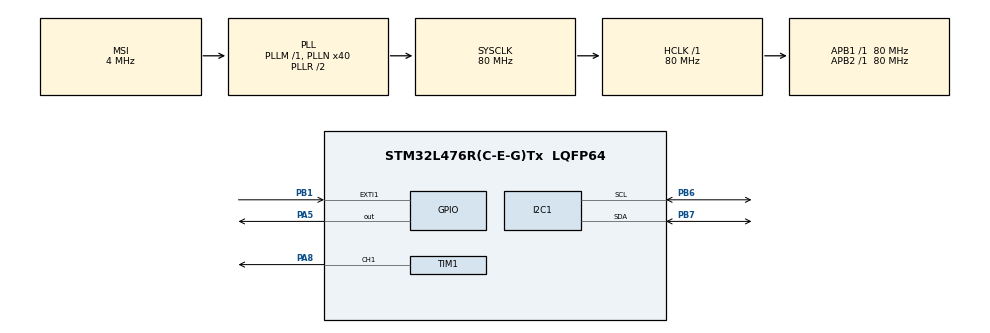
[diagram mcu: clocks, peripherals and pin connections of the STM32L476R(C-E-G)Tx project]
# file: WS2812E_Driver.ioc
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Dma.Request0=TIM1_CH1
Dma.TIM1_CH1.0.Direction=DMA_MEMORY_TO_PERIPH
Dma.TIM1_CH1.0.Instance=DMA1_Channel2
Dma.TIM1_CH1.0.MemDataAlignment=DMA_MDATAALIGN_HALFWORD
Dma.TIM1_CH1.0.MemInc=DMA_MINC_ENABLE
Dma.TIM1_CH1.0.Mode=DMA_NORMAL
Dma.TIM1_CH1.0.PeriphDataAlignment=DMA_PDATAALIGN_HALFWORD
Dma.TIM1_CH1.0.PeriphInc=DMA_PINC_DISABLE
Dma.TIM1_CH1.0.Priority=DMA_PRIORITY_HIGH
I2C1.Timing=0x10D19CE4
Mcu.Family=STM32L4
Mcu.Name=STM32L476R(C-E-G)Tx
Mcu.Package=LQFP64
NVIC.DMA1_Channel2_IRQn=true\:0\:0\:false\:false\:true\:false\:true\:true
NVIC.EXTI1_IRQn=true\:2\:0\:true\:false\:true\:true\:true\:true
NVIC.PriorityGroup=NVIC_PRIORITYGROUP_4
PA5.Signal=GPIO_Output
PA8.Signal=S_TIM1_CH1
PB1.Signal=GPXTI1
PB6.Mode=I2C
PB6.Signal=I2C1_SCL
PB7.Mode=I2C
PB7.Signal=I2C1_SDA
ProjectManager.HeapSize=0x200
ProjectManager.StackSize=0x400
ProjectManager.TargetToolchain=STM32CubeIDE
RCC.AHBFreq_Value=80000000
RCC.APB1Freq_Value=80000000
RCC.APB1TimFreq_Value=80000000
RCC.APB2Freq_Value=80000000
RCC.APB2TimFreq_Value=80000000
RCC.CortexFreq_Value=80000000
RCC.HCLKFreq_Value=80000000
RCC.HSE_VALUE=8000000
RCC.HSI_VALUE=16000000
RCC.LSE_VALUE=32768
RCC.MSI_VALUE=4000000
RCC.PLLN=40
RCC.SYSCLKFreq_VALUE=80000000
RCC.SYSCLKSource=RCC_SYSCLKSOURCE_PLLCLK
RCC.VCOOutputFreq_Value=160000000
SH.S_TIM1_CH1.0=TIM1_CH1,PWM Generation1 CH1
TIM1.Channel-PWM\ Generation1\ CH1=TIM_CHANNEL_1
TIM1.Period=99
board=custom

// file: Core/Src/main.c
/* USER CODE BEGIN Header */
/**
  ******************************************************************************
  * @file           : main.c
  * @brief          : Main program body
  ******************************************************************************
  * @attention
  *
  * Copyright (c) 2026 STMicroelectronics.
  * All rights reserved.
  *
  * This software is licensed under terms that can be found in the LICENSE file
  * in the root directory of this software component.
  * If no LICENSE file comes with this software, it is provided AS-IS.
  *
  ******************************************************************************
  */
/* USER CODE END Header */
#include "main.h"
#include "dma.h"
#include "i2c.h"
#include "tim.h"
#include "gpio.h"
#include <stdio.h>

/* USER CODE BEGIN Includes */
#include "matrix.h"
#include "make_detect.h"
#include "impact_detect.h"
#include "shot_classification.h"
/* USER CODE END Includes */

void SystemClock_Config(void);
/* USER CODE BEGIN PFP */
void HAL_GPIO_EXTI_Callback(uint16_t GPIO_Pin)
{
    if (GPIO_Pin == GPIO_PIN_1)
    {
    	Impact_Detect_EXTI_Callback(GPIO_Pin);
    }
}
/* USER CODE END PFP */

int main(void)
{

  /* MCU Configuration--------------------------------------------------------*/

  /* Reset of all peripherals, Initializes the Flash interface and the Systick. */
  HAL_Init();

  /* Configure the system clock */
  SystemClock_Config();

  /* Initialize all configured peripherals */
  MX_GPIO_Init();
  MX_DMA_Init();
  MX_TIM1_Init();
  MX_I2C1_Init();
  /* USER CODE BEGIN 2 */
  Make_Detect_Init();
  Impact_Detect_Init();
  /* USER CODE END 2 */

  /* Infinite loop */
  /* USER CODE BEGIN WHILE */

  uint8_t shot_count = 0;
  uint8_t make_count = 0;
  uint8_t new_score = 0;
  char score_string[4];
  ShotResult shot = SHOT_NONE;

  while (1)
  {
	  shot = Shot_Classification_Update();
	  if(shot == SHOT_MAKE){
		  shot_count++;
		  make_count++;
		  new_score = 1;
	  }
	  else if (shot == SHOT_MISS){
		  shot_count++;
		  new_score = 1;
	  }
	  if(new_score == 1){
	  	  snprintf(score_string, sizeof(score_string), "%d %d", make_count, shot_count);
	  	  Matrix_Write_String(score_string, 0, 10, 0);
	  	  new_score = 0;
	  }

  }

    /* USER CODE END WHILE */

}

void SystemClock_Config(void)
{
  RCC_OscInitTypeDef RCC_OscInitStruct = {0};
  RCC_ClkInitTypeDef RCC_ClkInitStruct = {0};

  /** Configure the main internal regulator output voltage
  */
  if (HAL_PWREx_ControlVoltageScaling(PWR_REGULATOR_VOLTAGE_SCALE1) != HAL_OK)
  {
    Error_Handler();
  }

  /** Initializes the RCC Oscillators according to the specified parameters
  * in the RCC_OscInitTypeDef structure.
  */
  RCC_OscInitStruct.OscillatorType = RCC_OSCILLATORTYPE_MSI;
  RCC_OscInitStruct.MSIState = RCC_MSI_ON;
  RCC_OscInitStruct.MSICalibrationValue = 0;
  RCC_OscInitStruct.MSIClockRange = RCC_MSIRANGE_6;
  RCC_OscInitStruct.PLL.PLLState = RCC_PLL_ON;
  RCC_OscInitStruct.PLL.PLLSource = RCC_PLLSOURCE_MSI;
  RCC_OscInitStruct.PLL.PLLM = 1;
  RCC_OscInitStruct.PLL.PLLN = 40;
  RCC_OscInitStruct.PLL.PLLP = RCC_PLLP_DIV7;
  RCC_OscInitStruct.PLL.PLLQ = RCC_PLLQ_DIV2;
  RCC_OscInitStruct.PLL.PLLR = RCC_PLLR_DIV2;
  if (HAL_RCC_OscConfig(&RCC_OscInitStruct) != HAL_OK)
  {
    Error_Handler();
  }

  /** Initializes the CPU, AHB and APB buses clocks
  */
  RCC_ClkInitStruct.ClockType = RCC_CLOCKTYPE_HCLK|RCC_CLOCKTYPE_SYSCLK
                              |RCC_CLOCKTYPE_PCLK1|RCC_CLOCKTYPE_PCLK2;
  RCC_ClkInitStruct.SYSCLKSource = RCC_SYSCLKSOURCE_PLLCLK;
  RCC_ClkInitStruct.AHBCLKDivider = RCC_SYSCLK_DIV1;
  RCC_ClkInitStruct.APB1CLKDivider = RCC_HCLK_DIV1;
  RCC_ClkInitStruct.APB2CLKDivider = RCC_HCLK_DIV1;

  if (HAL_RCC_ClockConfig(&RCC_ClkInitStruct, FLASH_LATENCY_4) != HAL_OK)
  {
    Error_Handler();
  }
}

void Error_Handler(void)
{
  __disable_irq();
  while (1)
  {
  }
}
